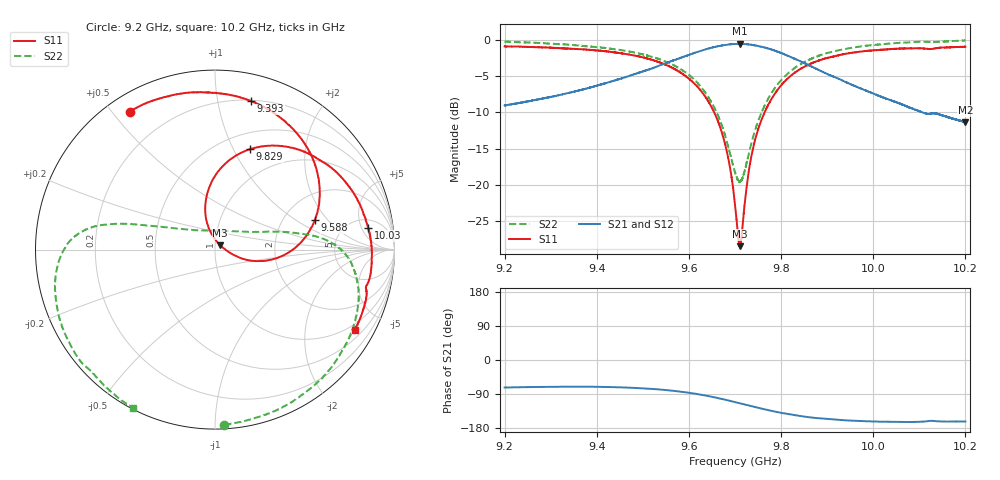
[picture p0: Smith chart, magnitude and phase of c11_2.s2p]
!Agilent Technologies,N5242A,MY51221714,A.09.90.19
!Agilent N5242A: A.09.90.19
!Date: Saturday, March 16, 2024 10:21:57
!Correction: S11(Full 2 Port(1,2))
!S21(Full 2 Port(1,2))
!S12(Full 2 Port(1,2))
!S22(Full 2 Port(1,2))
!S2P File: Measurements: S11, S21, S12, S22:
# Hz S  dB  R 50
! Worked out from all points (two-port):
!   16001 points, 9.2 GHz to 10.2 GHz, reference 50 ohm
!   highest |S21| = -0.52 dB at 9.71 GHz (marker M1); lowest = -11.3 dB at 10.2 GHz (marker M2)
!   |S21| within 3 dB of the highest: 9.536093 GHz to 9.536145 GHz (52.39 kHz wide, 0.000549 % of centre); 9.537 GHz to 9.862 GHz (325.1 MHz wide, 3.35 % of centre)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
!   lowest |S11| = -28.4 dB at 9.71 GHz (marker M3), VSWR 1.08, Z = 52.9 + j2.6 ohm
!   |S11| at or under -10 dB: 9.654669 GHz to 9.6547 GHz (31.1 kHz wide, 0.000322 % of centre); 9.655 GHz to 9.764 GHz (109.4 MHz wide, 1.13 % of centre)
!   |S22| runs from -19.6 to -0.1 dB; largest |S21 - S12| = 0.012
!   S11 on the Smith chart (normalised r, x): 9.2 GHz: 0.07, +0.56; 9.393 GHz: 0.21, +1.25; 9.588 GHz: 2.96, +1.47; 9.829 GHz: 0.68, +1.16; 10.03 GHz: 7.11, +6.68; 10.2 GHz: 0.77, -3.58
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9.2e9  -0.89 121.6  -9.02 -72.6  -9.01 -73.3  -0.20 -86.9
9.277688e9  -1.00 104.0  -8.14 -71.1  -8.12 -71.6  -0.41 -65.3
9.366688e9  -1.28 83.0  -6.88 -70.6  -6.86 -71.0  -0.79 -41.4
9.392812e9  -1.40 76.4  -6.44 -70.6  -6.42 -71.3  -0.95 -34.7
9.533375e9  -3.00 35.9  -3.59 -77.4  -3.57 -77.9  -2.57 -3.5
9.5875e9  -4.73 16.5  -2.34 -84.5  -2.32 -85.0  -4.24 5.4
9.661812e9  -11.02 -12.8  -0.87 -100.3  -0.88 -100.7  -10.23 19.0
9.684188e9  -15.96 -18.4  -0.62 -106.4  -0.62 -107.0  -14.44 31.8
9.7e9  -22.60 -8.6  -0.55 -111.0  -0.52 -111.7  -18.27 57.9
9.710062e9  -28.45 40.6  -0.55 -114.1  -0.52 -114.7  -19.58 87.7
9.7105e9  -28.31 43.1  -0.52 -114.3  -0.51 -114.8  -19.52 89.8
9.732062e9  -17.23 106.2  -0.62 -120.8  -0.60 -121.5  -15.12 140.9
9.75125e9  -12.13 102.6  -0.84 -126.5  -0.82 -127.1  -11.01 154.2
9.7845e9  -7.59 89.4  -1.42 -135.6  -1.42 -136.2  -6.81 162.2
9.828812e9  -4.55 70.7  -2.57 -145.5  -2.56 -146.0  -3.88 167.5
9.866688e9  -3.19 56.2  -3.68 -151.8  -3.67 -152.4  -2.55 172.1
9.947312e9  -1.82 30.0  -5.99 -159.7  -6.00 -160.2  -1.13 -174.9
1.002856e10  -1.29 8.1  -8.10 -162.9  -8.08 -163.5  -0.52 -158.2
1.003338e10  -1.27 6.8  -8.22 -163.0  -8.20 -163.6  -0.49 -157.1
1.011056e10  -1.16 -11.7  -10.07 -162.4  -10.07 -163.0  -0.24 -139.9
1.019988e10  -0.94 -30.0  -11.33 -162.2  -11.32 -162.9  -0.06 -117.4
1.02e10  -0.93 -30.0  -11.33 -162.3  -11.32 -162.9  -0.06 -117.4
